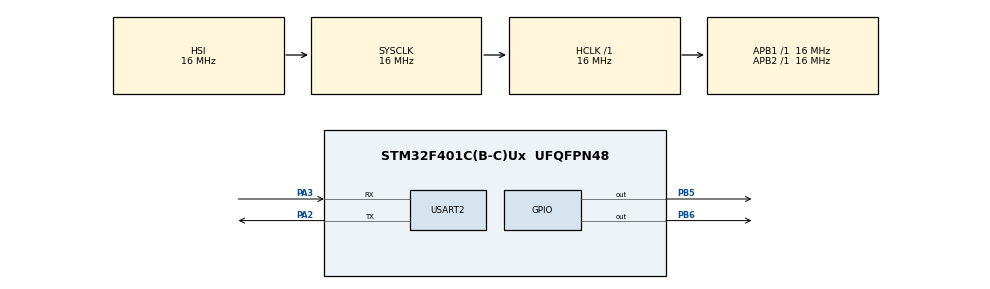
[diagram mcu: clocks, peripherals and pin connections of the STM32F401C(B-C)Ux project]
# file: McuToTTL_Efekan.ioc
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Mcu.Family=STM32F4
Mcu.Name=STM32F401C(B-C)Ux
Mcu.Package=UFQFPN48
NVIC.PriorityGroup=NVIC_PRIORITYGROUP_4
NVIC.USART2_IRQn=true\:0\:0\:false\:false\:true\:true\:true\:true
PA13.Mode=Serial_Wire
PA13.Signal=SYS_JTMS-SWDIO
PA14.Mode=Serial_Wire
PA14.Signal=SYS_JTCK-SWCLK
PA2.Mode=Asynchronous
PA2.Signal=USART2_TX
PA3.Mode=Asynchronous
PA3.Signal=USART2_RX
PB5.Signal=GPIO_Output
PB6.Signal=GPIO_Output
PH0\ -\ OSC_IN.Mode=HSE-External-Oscillator
PH0\ -\ OSC_IN.Signal=RCC_OSC_IN
PH1\ -\ OSC_OUT.Mode=HSE-External-Oscillator
PH1\ -\ OSC_OUT.Signal=RCC_OSC_OUT
ProjectManager.HeapSize=0x200
ProjectManager.StackSize=0x400
ProjectManager.TargetToolchain=STM32CubeIDE
RCC.AHBFreq_Value=16000000
RCC.APB1Freq_Value=16000000
RCC.APB2Freq_Value=16000000
RCC.CortexFreq_Value=16000000
RCC.HSE_VALUE=25000000
RCC.HSI_VALUE=16000000
RCC.LSE_VALUE=32768
RCC.SYSCLKFreq_VALUE=16000000
RCC.VCOOutputFreq_Value=192000000
USART2.VirtualMode=VM_ASYNC
board=custom

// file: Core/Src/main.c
/* USER CODE BEGIN Header */
/**
  ******************************************************************************
  * @file           : main.c
  * @brief          : Main program body
  ******************************************************************************
  * @attention
  *
  * Copyright (c) 2024 STMicroelectronics.
  * All rights reserved.
  *
  * This software is licensed under terms that can be found in the LICENSE file
  * in the root directory of this software component.
  * If no LICENSE file comes with this software, it is provided AS-IS.
  *
  ******************************************************************************
  */
/* USER CODE END Header */
#include "main.h"

/* USER CODE BEGIN Includes */
#include "StationTelemetry.h"
/* USER CODE END Includes */

UART_HandleTypeDef huart2;

/* USER CODE BEGIN PV */

/*---BEGIN---------My externed variable------------*/
extern Variable_HandleTypeDef data;		 /* is for save all telemetry data into the struct's varaibles */
extern uint16_t Written_Bytes;			 /* is for save number of total converted buffer's characters  */
/*---END-----------My externed variable------------*/

/*! brief : This array is for getting command from the Station PC
 * 			received datas will be download into the array to extract
 *
 * 	note  : There are few character
 * 				@arg :  '*' is the enable command  character for related mission
 * 				@arg :  '#' is the disable command character for related mission
 * 				@arg :  '%' is the request command character to send your telemetry data to the Station PC
 *
 *
 * [0] = manuel deployment
 * [1] = swtich camera
 * [2] = Colorization number_1
 * [3] = Colorization letter_1
 * [4] = Colorization number_2
 * [5] = Colorization letter_2
 * [6] = Request getting telemetry packet
 */
char Stationcommands[7]={0};

/* USER CODE END PV */

void SystemClock_Config(void);
static void MX_GPIO_Init(void);
static void MX_USART2_UART_Init(void);

/* USER CODE BEGIN 0 */

/**
 * @brief : Station PC programmer should look at here for sending command
 *
 * 			For manuel deployment ==> *#????#
 * 			For switch camera 	  ==> #*????#
 * 			For colorization task ==> ##RHRH#
 * 			For request telemetry datas from STM32 mcu of Station part ==> ##????%
 *
 * @note : 	if you want to get data and doing manuel deployment at the same time
 * 			Station PC send the data to the STM32 mcu as like *#????%
 * 			this is not a problem because we are using if else blocks
 *
 */
//TODO : We add codes
/* This same code blocks will be using in payload code of satellite */
void HAL_UART_RxCpltCallback(UART_HandleTypeDef *huart){

	/*! For manuel deployment */
	if(Stationcommands[0] == '*'){
		/**/
	}
	else if(Stationcommands[0] == '#'){
		/**/
	}

	/* For switch camera */
	if(Stationcommands[1] == '*'){
		/**/
	}
	else if(Stationcommands[0] == '#'){
		/**/
	}

	/* For image colorization task */
	if((Stationcommands[2] !='?') && (Stationcommands[3] !='?') && (Stationcommands[4] !='?') && (Stationcommands[5] !='?')){

		data.rhrh[0]= Stationcommands[2];
		data.rhrh[1]= Stationcommands[3];
		data.rhrh[2]= Stationcommands[4];
		data.rhrh[3]= Stationcommands[5];

	}

	/* For sending */
	if(Stationcommands[6] == '%'){
		/* Run create and sending telemetry packet functions to push and print data via USBtoTTL */
		data.PermissionFlag = Permission_On;
	}
	else if(Stationcommands[6] == '#'){
		data.PermissionFlag = Permission_Off;
	}

	/* Reset all indexes values */
	for(int i = 0; i < sizeof(Stationcommands) ; i++){
		Stationcommands[i]=0;
	}

	/* Send the array to the Payload of Satellite */
	//HAL_UART_Transmit_IT(&huart2, Stationcommands, sizeof(Stationcommands));

	/* Start again uart receive interrupt function */
	HAL_UART_Receive_IT(&huart2, Stationcommands, sizeof(Stationcommands));
}

/* USER CODE END 0 */

int main(void)
{

  /* MCU Configuration--------------------------------------------------------*/

  /* Reset of all peripherals, Initializes the Flash interface and the Systick. */
  HAL_Init();

  /* Configure the system clock */
  SystemClock_Config();

  /* Initialize all configured peripherals */
  MX_GPIO_Init();
  MX_USART2_UART_Init();
  /* USER CODE BEGIN 2 */

  /*! Set first startup values of the system */
  	  SATELLITE_set_first_values();

  /*! Upload the datas into the releated variables*/
  	  SATELLITE_fill_array();

  /*! Gets datas from the Station PC by using IT */
  	  HAL_UART_Receive_IT(&huart2, Stationcommands, sizeof(Stationcommands));

  /* USER CODE END 2 */

  /* Infinite loop */
  /* USER CODE BEGIN WHILE */
  while (1)
  {

	/*! First step is from ground to peak point. This value is compatible the process */
		  SATELLITE_ready_for_flight__to__apogie();

	/*! First step is from peak point to ground. This value is compatible the process */
		  SATELLITE_apogie__to__ground();

	/*! After all satellite process, Upload first step value into the variables */
		  SATELLITE_set_first_values();

    /* USER CODE END WHILE */

  }
}

void SystemClock_Config(void)
{
  RCC_OscInitTypeDef RCC_OscInitStruct = {0};
  RCC_ClkInitTypeDef RCC_ClkInitStruct = {0};

  /** Configure the main internal regulator output voltage
  */
  __HAL_RCC_PWR_CLK_ENABLE();
  __HAL_PWR_VOLTAGESCALING_CONFIG(PWR_REGULATOR_VOLTAGE_SCALE2);

  /** Initializes the RCC Oscillators according to the specified parameters
  * in the RCC_OscInitTypeDef structure.
  */
  RCC_OscInitStruct.OscillatorType = RCC_OSCILLATORTYPE_HSI;
  RCC_OscInitStruct.HSIState = RCC_HSI_ON;
  RCC_OscInitStruct.HSICalibrationValue = RCC_HSICALIBRATION_DEFAULT;
  RCC_OscInitStruct.PLL.PLLState = RCC_PLL_NONE;
  if (HAL_RCC_OscConfig(&RCC_OscInitStruct) != HAL_OK)
  {
    Error_Handler();
  }

  /** Initializes the CPU, AHB and APB buses clocks
  */
  RCC_ClkInitStruct.ClockType = RCC_CLOCKTYPE_HCLK|RCC_CLOCKTYPE_SYSCLK
                              |RCC_CLOCKTYPE_PCLK1|RCC_CLOCKTYPE_PCLK2;
  RCC_ClkInitStruct.SYSCLKSource = RCC_SYSCLKSOURCE_HSI;
  RCC_ClkInitStruct.AHBCLKDivider = RCC_SYSCLK_DIV1;
  RCC_ClkInitStruct.APB1CLKDivider = RCC_HCLK_DIV1;
  RCC_ClkInitStruct.APB2CLKDivider = RCC_HCLK_DIV1;

  if (HAL_RCC_ClockConfig(&RCC_ClkInitStruct, FLASH_LATENCY_0) != HAL_OK)
  {
    Error_Handler();
  }
}

static void MX_USART2_UART_Init(void)
{

  huart2.Instance = USART2;
  huart2.Init.BaudRate = 115200;
  huart2.Init.WordLength = UART_WORDLENGTH_8B;
  huart2.Init.StopBits = UART_STOPBITS_1;
  huart2.Init.Parity = UART_PARITY_NONE;
  huart2.Init.Mode = UART_MODE_TX_RX;
  huart2.Init.HwFlowCtl = UART_HWCONTROL_NONE;
  huart2.Init.OverSampling = UART_OVERSAMPLING_16;
  if (HAL_UART_Init(&huart2) != HAL_OK)
  {
    Error_Handler();
  }

}

static void MX_GPIO_Init(void)
{
  GPIO_InitTypeDef GPIO_InitStruct = {0};

  /* GPIO Ports Clock Enable */
  __HAL_RCC_GPIOH_CLK_ENABLE();
  __HAL_RCC_GPIOA_CLK_ENABLE();
  __HAL_RCC_GPIOB_CLK_ENABLE();

  /*Configure GPIO pin Output Level */
  HAL_GPIO_WritePin(GPIOB, GPIO_PIN_5|GPIO_PIN_6, GPIO_PIN_RESET);

  /*Configure GPIO pins : PB5 PB6 */
  GPIO_InitStruct.Pin = GPIO_PIN_5|GPIO_PIN_6;
  GPIO_InitStruct.Mode = GPIO_MODE_OUTPUT_PP;
  GPIO_InitStruct.Pull = GPIO_NOPULL;
  GPIO_InitStruct.Speed = GPIO_SPEED_FREQ_LOW;
  HAL_GPIO_Init(GPIOB, &GPIO_InitStruct);

}

void Error_Handler(void)
{
  __disable_irq();
  while (1)
  {
  }
}
